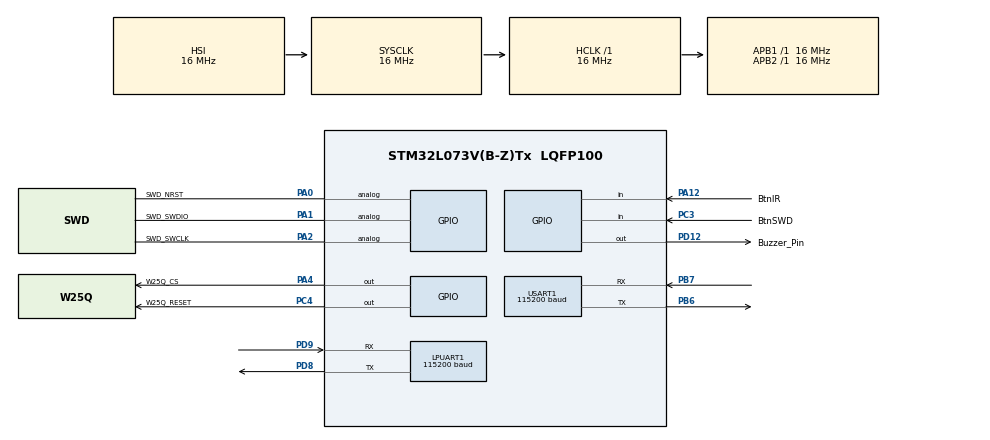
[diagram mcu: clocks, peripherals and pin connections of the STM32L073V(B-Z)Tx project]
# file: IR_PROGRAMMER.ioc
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LPUART1.BaudRate=115200
LPUART1.Parity=UART_PARITY_EVEN
LPUART1.WordLength=UART_WORDLENGTH_9B
Mcu.Family=STM32L0
Mcu.Name=STM32L073V(B-Z)Tx
Mcu.Package=LQFP100
PA0.GPIO_Label=SWD_NRST
PA0.Signal=GPIO_Analog
PA1.GPIO_Label=SWD_SWDIO
PA1.Signal=GPIO_Analog
PA12.GPIO_Label=BtnIR
PA12.Signal=GPIO_Input
PA13.Mode=Serial_Wire
PA13.Signal=SYS_SWDIO
PA14.Mode=Serial_Wire
PA14.Signal=SYS_SWCLK
PA2.GPIO_Label=SWD_SWCLK
PA2.Signal=GPIO_Analog
PA4.GPIO_Label=W25Q_CS
PA4.PinState=GPIO_PIN_SET
PA4.Signal=GPIO_Output
PB6.GPIO_Speed=GPIO_SPEED_FREQ_VERY_HIGH
PB6.Mode=Asynchronous
PB6.Signal=USART1_TX
PB7.GPIO_PuPd=GPIO_PULLUP
PB7.GPIO_Speed=GPIO_SPEED_FREQ_VERY_HIGH
PB7.Mode=Asynchronous
PB7.Signal=USART1_RX
PC3.GPIO_Label=BtnSWD
PC3.Signal=GPIO_Input
PC4.GPIO_Label=W25Q_RESET
PC4.PinState=GPIO_PIN_SET
PC4.Signal=GPIO_Output
PD12.GPIO_Label=Buzzer_Pin
PD12.PinState=GPIO_PIN_RESET
PD12.Signal=GPIO_Output
PD8.GPIO_Speed=GPIO_SPEED_FREQ_VERY_HIGH
PD8.Mode=Asynchronous
PD8.Signal=LPUART1_TX
PD9.GPIO_Speed=GPIO_SPEED_FREQ_VERY_HIGH
PD9.Mode=Asynchronous
PD9.Signal=LPUART1_RX
ProjectManager.HeapSize=0x200
ProjectManager.StackSize=0x400
ProjectManager.TargetToolchain=MDK-ARM V5.32
RCC.AHBFreq_Value=16000000
RCC.APB1Freq_Value=16000000
RCC.APB1TimFreq_Value=16000000
RCC.APB2Freq_Value=16000000
RCC.APB2TimFreq_Value=16000000
RCC.HCLKFreq_Value=16000000
RCC.HSE_VALUE=8000000
RCC.HSI16_VALUE=16000000
RCC.HSI48_VALUE=48000000
RCC.HSI_VALUE=16000000
RCC.LSE_VALUE=32768
RCC.MSI_VALUE=2097000
RCC.PWR_Regulator_Voltage_Scale=PWR_REGULATOR_VOLTAGE_SCALE1
RCC.SYSCLKFreq_VALUE=16000000
RCC.SYSCLKSource=RCC_SYSCLKSOURCE_HSI
RCC.VCOOutputFreq_Value=48000000
USART1.BaudRate=115200
USART1.VirtualMode-Asynchronous=VM_ASYNC
board=custom

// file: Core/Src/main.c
/* USER CODE BEGIN Header */
/**
  ******************************************************************************
  * @file           : main.c
  * @brief          : IR + SWD Programmer - ana program
  *
  *  IR_Programmer_PPM karti (STM32L073VBT) uzerinde calisir. fw_image.h icindeki
  *  firmware'i hedef STM32L0'a iki yoldan biriyle yazar:
  *
  *    - IR  : SW3 / BUTTON_2 (PA12) -> hedefin sistem bootloader'i (AN3155),
  *            LPUART1 (PD8 = TX, PD9 = RX)
  *    - SWD : SW1 / BUTTON_1 (PC3)  -> bit-bang SWD (SWD/swd.c), J1 konnektoru
  *            (PA2 = SWCLK, PA1 = SWDIO, PA0 = NRST)
  *    - Log    : USART1 (PB6 = TX, PB7 = RX) <- J3, PC'ye 115200 8N1 log
  *    - Buzzer : PD12 (Q3) - kartta LCD yok, geri bildirim bip ile
  ******************************************************************************
  */
/* USER CODE END Header */
#include "main.h"

/* USER CODE BEGIN Includes */
#include "fw_image.h"      /* hedef firmware: fw_data[], fw_size (IR ve SWD ortak) */
#include "swd.h"
#include "sys_conf.h"
#include <stdarg.h>
#include <stdio.h>
#include <string.h>
/* USER CODE END Includes */

/* USER CODE BEGIN PD */
/* --- STM32 sistem bootloader (AN3155) sabitleri --- */
#define BL_INIT             0x7FU
#define BL_ACK              0x79U
#define BL_NACK             0x1FU
#define TARGET_FLASH_BASE   0x08000000U   /* hedef firmware'in yazilacagi adres */
#define BL_CHUNK            256U          /* Write Memory blok boyutu (maks 256) */
/* IR baud. Bootloader ilk 0x7F'te buna kilitlenir; degistirirsen hedefi
   power-cycle et. Link kararsizsa 57600 / 38400 dene (CubeProgrammer 115200). */
#define IR_BAUDRATE         115200U
#define TARGET_PAGE_SIZE    128U          /* STM32L0 flash sayfa boyutu */
#define LOG_BAUDRATE        115200U

/* IR akisinda hedefin BOOT0 hatti yok: hedef elle power-cycle ile
 * bootloader'a alinir, programlama sonunda 'Go' komutuyla uygulamaya atlanir.
 * SWD akisi ise hedefi J1'deki NRST ile kendisi resetler ve durdurur.          */

/* SWD bit-bang yarim periyot gecikmesi (0 = en hizli). Uzun/parazitli kabloda
   ERR_PARITY / ERR_ACK / ERR_VERIFY gorulurse 2..6'ya cikar. */
#define SWD_CLK_DELAY       0U

/* Hata kodlari (Ui_Error bu sayida kisa bip calar)
 *   IR : -1 baglanti, -2 Get ID, -3 erase, -4 yazma
 *   SWD: -5 attach (IDCODE/halt), -6 flash unlock, -7 erase/yazma, -8 verify */
#define ERR_SWD_ATTACH      (-5)
#define ERR_SWD_UNLOCK      (-6)
#define ERR_SWD_PROGRAM     (-7)
#define ERR_SWD_VERIFY      (-8)
/* USER CODE END PD */

UART_HandleTypeDef hlpuart1;
UART_HandleTypeDef huart1;

/* USER CODE BEGIN PV */
volatile int g_prog_result = -100;   /* 0 = basari; debug'ta izlemek icin */
/* USER CODE END PV */

void SystemClock_Config(void);
static void MX_GPIO_Init(void);
static void MX_USART1_UART_Init(void);
static void MX_LPUART1_UART_Init(void);
/* USER CODE BEGIN PFP */
static void     Log(const char *fmt, ...);
static void     Ui_Begin(void);
static void     Ui_Ready(void);
static void     Ui_Success(void);
static void     Ui_Error(int code);
static int      Button_PressEdge(GPIO_TypeDef *port, uint16_t pin, int *prev);
static int      bl_set_baud(uint32_t baud);
static int      bl_connect(void);
static int      bl_get_id(uint16_t *pid);
static int      bl_erase_range(uint16_t first_page, uint16_t count);
static int      bl_write(uint32_t addr, const uint8_t *data, uint16_t len);
static int      bl_go(uint32_t addr);
int             Program_Target(void);
int             Program_Target_SWD(void);
/* USER CODE END PFP */

/* USER CODE BEGIN 0 */

/* ============================================================
 *  Buzzer (PD12 -> Q3) - aktif buzzer, ms suresince oter
 * ============================================================ */
void Buzzer(uint16_t ms)
{
  HAL_GPIO_WritePin(Buzzer_Pin_GPIO_Port, Buzzer_Pin_Pin, GPIO_PIN_SET);
  HAL_Delay(ms);
  HAL_GPIO_WritePin(Buzzer_Pin_GPIO_Port, Buzzer_Pin_Pin, GPIO_PIN_RESET);
}

/* ============================================================
 *  Mesgul bipi - programlama surerken arka planda periyodik kisa bip.
 *  SysTick kesmesinden (1 ms) Buzzer_Tick() ile surulur; ana akisi
 *  (IR UART / SWD bit-bang) hic bekletmez.
 * ============================================================ */
#define BUSY_BEEP_PERIOD_MS   1000U   /* bip araligi */
#define BUSY_BEEP_ON_MS       40U     /* bip suresi  */

static volatile uint8_t  s_busy_beep = 0;
static volatile uint16_t s_busy_ms   = 0;

static void BusyBeep_Start(void)
{
  s_busy_ms   = 0;
  s_busy_beep = 1;
}

static void BusyBeep_Stop(void)
{
  s_busy_beep = 0;
  HAL_GPIO_WritePin(Buzzer_Pin_GPIO_Port, Buzzer_Pin_Pin, GPIO_PIN_RESET);
}

/* SysTick_Handler'dan her 1 ms'de cagrilir */
void Buzzer_Tick(void)
{
  if (!s_busy_beep) return;
  uint16_t t = s_busy_ms;
  if (t == 0U)
    HAL_GPIO_WritePin(Buzzer_Pin_GPIO_Port, Buzzer_Pin_Pin, GPIO_PIN_SET);
  else if (t == BUSY_BEEP_ON_MS)
    HAL_GPIO_WritePin(Buzzer_Pin_GPIO_Port, Buzzer_Pin_Pin, GPIO_PIN_RESET);
  s_busy_ms = (uint16_t)((t + 1U >= BUSY_BEEP_PERIOD_MS) ? 0U : (t + 1U));
}

/* ============================================================
 *  Geri bildirim yardimcilari (kartta ekran yok -> sadece buzzer)
 * ============================================================ */
static void Ui_Begin(void)            /* programlama basliyor: tek kisa bip */
{
  Buzzer(60);
}

static void Ui_Ready(void)            /* hazir: menu tusuna basilmasini bekliyor */
{
  Buzzer(60);
}

static void Ui_Success(void)          /* basarili: iki kisa bip */
{
  Buzzer(80); HAL_Delay(120); Buzzer(80);
}

static void Ui_Error(int code)        /* hata: uzun bip + |code| adet kisa bip */
{
  int c = (code < 0) ? -code : code;
  Buzzer(600);
  HAL_Delay(400);
  for (int i = 0; i < c && i < 9; i++) {
    Buzzer(100); HAL_Delay(200);
  }
}

/* ============================================================
 *  Butonlar (aktif HIGH) - basma kenari yakalama (debounce'lu)
 * ============================================================ */
/* serbest->basili gecisini dondurur. Programlama sirasinda CAGRILMADIGI icin
   o sirada basilan tuslar dogal olarak yok sayilir; programlama bittikten sonra
   ancak YENI bir basma (birak + tekrar bas) yeni cevrimi tetikler.
   *prev boot'ta 1 verilir -> acilista basili tus yanlislikla tetiklemez. */
static int Button_PressEdge(GPIO_TypeDef *port, uint16_t pin, int *prev)
{
  int now = (HAL_GPIO_ReadPin(port, pin) == GPIO_PIN_SET);
  int edge = (now && !*prev);
  *prev = now;
  if (edge) HAL_Delay(30);    /* debounce */
  return edge;
}

/* printf tarzi log (USART1 / J3): Log("deger=%d\r\n", x); */
static void Log(const char *fmt, ...)
{
  char buf[128];
  va_list ap;
  va_start(ap, fmt);
  int n = vsnprintf(buf, sizeof(buf), fmt, ap);
  va_end(ap);
  if (n < 0) return;
  if (n > (int)sizeof(buf)) n = (int)sizeof(buf);   /* tasma korumasi */
  HAL_UART_Transmit(&huart1, (uint8_t *)buf, (uint16_t)n, 1000);
}

/* ============================================================
 *  Dusuk seviye IR/UART yardimcilari (LPUART1)
 * ============================================================ */
static int bl_recv(uint8_t *d, uint16_t n, uint32_t to)
{
  return (HAL_UART_Receive(&hlpuart1, d, n, to) == HAL_OK) ? 0 : -1;
}
static void bl_send(const uint8_t *d, uint16_t n)
{
  HAL_UART_Transmit(&hlpuart1, (uint8_t *)d, n, 2000);
}
static int bl_wait_ack(uint32_t to)
{
  uint8_t b;
  if (bl_recv(&b, 1, to)) return -1;        /* timeout       */
  return (b == BL_ACK) ? 0 : -2;            /* NACK / hatali */
}
/* RX'te bekleyen artik/echo baytlarini ve hata bayraklarini temizle */
static void bl_flush(void)
{
  uint8_t junk;
  while (HAL_UART_Receive(&hlpuart1, &junk, 1, 5) == HAL_OK) { /* bosalt */ }
  __HAL_UART_CLEAR_OREFLAG(&hlpuart1);
  __HAL_UART_CLEAR_PEFLAG(&hlpuart1);
  __HAL_UART_CLEAR_FEFLAG(&hlpuart1);
  __HAL_UART_CLEAR_NEFLAG(&hlpuart1);
}

/* Komut baytini ve tumleyenini gonderir, ACK bekler */
static int bl_cmd(uint8_t cmd)
{
  uint8_t b[2] = { cmd, (uint8_t)(~cmd) };
  bl_flush();
  bl_send(b, 2);
  return bl_wait_ack(1000);
}

/* LPUART1 baud'unu yeniden ayarla */
static int bl_set_baud(uint32_t baud)
{
  hlpuart1.Init.BaudRate = baud;
  return (HAL_UART_Init(&hlpuart1) == HAL_OK) ? 0 : -1;
}

/* Tek bir 0x7F denemesi. 0 = ACK/NACK geldi (baglandi). */
static int bl_connect_once(void)
{
  uint8_t init = BL_INIT, b;
  HAL_StatusTypeDef s;

  __HAL_UART_CLEAR_OREFLAG(&hlpuart1);
  __HAL_UART_CLEAR_PEFLAG(&hlpuart1);
  __HAL_UART_CLEAR_FEFLAG(&hlpuart1);
  __HAL_UART_CLEAR_NEFLAG(&hlpuart1);

  bl_send(&init, 1);
  s = HAL_UART_Receive(&hlpuart1, &b, 1, 500);

  if (s == HAL_OK) {
    const char *tag = (b == BL_ACK)  ? " (ACK)"
                    : (b == BL_NACK) ? " (NACK - zaten init)"
                    : (b == BL_INIT) ? " (!! kendi echo'muz)"
                    : "";
    Log("        -> 0x%02X%s\r\n", b, tag);
    if (b == BL_ACK || b == BL_NACK) return 0;
  } else if (s == HAL_TIMEOUT) {
    Log("        -> cevap yok\r\n");
  } else {
    Log("        -> UART hata 0x%lX\r\n", (unsigned long)hlpuart1.ErrorCode);
  }
  return -1;
}

/* 0x7F autobaud. Hedef TAZE boot modunda olmali (elle power-cycle);
 * ilk 0x7F bootloader'i IR_BAUDRATE'e kilitler. */
static int bl_connect(void)
{
  bl_set_baud(IR_BAUDRATE);
  Log("    baud %lu...\r\n", (unsigned long)IR_BAUDRATE);
  for (int i = 0; i < 5; i++) {
    if (bl_connect_once() == 0) {
      Log("    >>> BAGLANDI @ %lu baud\r\n", (unsigned long)IR_BAUDRATE);
      return 0;
    }
    HAL_Delay(50);
  }
  return -1;
}

/* 0x02: Get ID -> hedef PID (urun kimligi). Marjinal link icin tekrarli. */
static int bl_get_id(uint16_t *pid)
{
  for (int attempt = 0; attempt < 5; attempt++) {
    uint8_t n, id[4];
    if (bl_cmd(0x02))                  { Log("    GetID d%d: cmd ACK yok\r\n", attempt + 1); continue; }
    if (bl_recv(&n, 1, 1000))          { Log("    GetID d%d: n yok\r\n",      attempt + 1); continue; }
    if ((int)n + 1 > (int)sizeof(id))  { Log("    GetID d%d: n=%u tuhaf\r\n",  attempt + 1, n); continue; }
    if (bl_recv(id, n + 1, 1000))      { Log("    GetID d%d: id yok\r\n",     attempt + 1); continue; }
    if (bl_wait_ack(1000))             { Log("    GetID d%d: son ACK yok\r\n", attempt + 1); continue; }
    *pid = (uint16_t)((id[0] << 8) | id[1]);
    return 0;
  }
  return -1;
}

/* 0x44: Extended Erase -> SAYFA erase. first_page'den baslayarak count sayfa siler.
 * CubeProgrammer'in yaptigi yontem (global 0xFFFF mass erase yerine). Tekrarli. */
static int bl_erase_range(uint16_t first_page, uint16_t count)
{
  if (count == 0) return 0;
  for (int attempt = 0; attempt < 4; attempt++) {
    uint8_t hdr[2], pb[2], cs, b;
    uint16_t nm1 = (uint16_t)(count - 1);  /* sayfa sayisi - 1 (MSB first) */

    if (bl_cmd(0x44)) { Log("    Erase[%u] d%d: cmd ACK yok\r\n", first_page, attempt + 1); continue; }

    hdr[0] = (uint8_t)(nm1 >> 8);
    hdr[1] = (uint8_t)(nm1 & 0xFF);
    cs = (uint8_t)(hdr[0] ^ hdr[1]);
    bl_send(hdr, 2);
    for (uint16_t i = 0; i < count; i++) {
      uint16_t pg = (uint16_t)(first_page + i);
      pb[0] = (uint8_t)(pg >> 8);
      pb[1] = (uint8_t)(pg & 0xFF);
      cs ^= (uint8_t)(pb[0] ^ pb[1]);
      bl_send(pb, 2);
    }
    bl_send(&cs, 1);

    if (bl_recv(&b, 1, 30000)) { Log("    Erase[%u] d%d: cevap yok\r\n", first_page, attempt + 1); continue; }
    if (b == BL_ACK) return 0;
    Log("    Erase[%u] d%d: cevap 0x%02X\r\n", first_page, attempt + 1, b);
  }
  return -1;
}

/* 0x31: Write Memory -> addr adresine len (1..256) bayt yazar. Tekrarli. */
static int bl_write(uint32_t addr, const uint8_t *data, uint16_t len)
{
  if (len == 0 || len > 256) return -10;

  for (int attempt = 0; attempt < 4; attempt++) {
    uint8_t a[5];
    uint8_t n, cs;

    if (bl_cmd(0x31)) continue;                 /* komut ACK */
    a[0] = (uint8_t)(addr >> 24);
    a[1] = (uint8_t)(addr >> 16);
    a[2] = (uint8_t)(addr >> 8);
    a[3] = (uint8_t)(addr);
    a[4] = a[0] ^ a[1] ^ a[2] ^ a[3];
    bl_send(a, 5);
    if (bl_wait_ack(1000)) continue;            /* adres ACK */

    n  = (uint8_t)(len - 1);
    cs = n;
    for (uint16_t i = 0; i < len; i++) cs ^= data[i];
    bl_send(&n, 1);
    bl_send(data, len);
    bl_send(&cs, 1);
    if (bl_wait_ack(5000) == 0) return 0;       /* veri ACK */

    Log("    Write @0x%08lX d%d: ACK yok\r\n", (unsigned long)addr, attempt + 1);
  }
  return -1;
}

/* 0x21: Go -> verilen adresten uygulamayi baslatir */
static int bl_go(uint32_t addr)
{
  uint8_t a[5];
  if (bl_cmd(0x21)) return -1;
  a[0] = (uint8_t)(addr >> 24);
  a[1] = (uint8_t)(addr >> 16);
  a[2] = (uint8_t)(addr >> 8);
  a[3] = (uint8_t)(addr);
  a[4] = a[0] ^ a[1] ^ a[2] ^ a[3];
  bl_send(a, 5);
  return bl_wait_ack(1000);
}

/* ============================================================
 *  Ust seviye akis: hedefi programla
 *  Donus: 0 basari, negatif deger hata adimi
 * ============================================================ */
int Program_Target(void)
{
  uint16_t pid = 0;

  Log("[1-2] Bootloader baglantisi...\r\n");
  if (bl_connect())    { Log("    HATA: hicbir baud'da ACK yok\r\n"); return -1; }

  Log("[3] Get ID...\r\n");
  if (bl_get_id(&pid)) { Log("    HATA: ID okunamadi\r\n"); return -2; }
  Log("    Hedef PID = 0x%04X\r\n", pid);

  /* CubeProgrammer gibi SAYFA erase (global 0xFFFF mass erase bu bootloader'da
     NACK aliyor). Marjinal IR icin 32'lik gruplar halinde, her grup tekrarli. */
  {
    uint16_t total_pages = (uint16_t)((fw_size + TARGET_PAGE_SIZE - 1) / TARGET_PAGE_SIZE);
    const uint16_t BATCH = 32;
    Log("[4] Sayfa erase: %u sayfa...\r\n", total_pages);
    for (uint16_t p = 0; p < total_pages; p += BATCH) {
      uint16_t cnt = (uint16_t)((total_pages - p > BATCH) ? BATCH : (total_pages - p));
      if (bl_erase_range(p, cnt)) { Log("    HATA: erase @ sayfa %u\r\n", p); return -3; }
      Log("    silindi: %u/%u\r\n", (unsigned)(p + cnt), total_pages);
    }
  }
  Log("    Erase OK\r\n");

  Log("[5] Yaziliyor: %lu bayt @ 0x%08lX\r\n",
      (unsigned long)fw_size, (unsigned long)TARGET_FLASH_BASE);
  for (uint32_t off = 0, idx = 0; off < fw_size; off += BL_CHUNK, idx++) {
    uint16_t chunk = (fw_size - off > BL_CHUNK) ? BL_CHUNK
                                                : (uint16_t)(fw_size - off);
    if (bl_write(TARGET_FLASH_BASE + off, &fw_data[off], chunk)) {
      Log("    HATA: yazma basarisiz @ ofset %lu\r\n", (unsigned long)off);
      return -4;
    }
    if ((idx % 16) == 0) {  /* her ~4KB'de bir ilerleme logu */
      uint8_t pct = (uint8_t)(((uint64_t)(off + chunk) * 100U) / fw_size);
      Log("    %lu / %lu bayt (%%%u)\r\n",
          (unsigned long)(off + chunk), (unsigned long)fw_size, pct);
    }
  }
  Log("    Yazma tamam (%lu bayt)\r\n", (unsigned long)fw_size);

  /* Reset hatti yok -> CubeProgrammer gibi Go komutuyla uygulamaya atla */
  Log("[6] Go: uygulamaya atlaniyor @ 0x%08lX\r\n", (unsigned long)TARGET_FLASH_BASE);
  if (bl_go(TARGET_FLASH_BASE)) Log("    Uyari: Go ACK yok\r\n");

  return 0;
}

/* ============================================================
 *  SWD ile programlama (SWD/swd.c surucusu, J1 konnektoru)
 * ============================================================ */
static const char *swd_status_str(swd_status_t s)
{
  switch (s)
  {
    case SWD_OK:         return "OK";
    case SWD_ERR_ACK:    return "ERR_ACK (baglanti yok / WAIT / FAULT)";
    case SWD_ERR_PARITY: return "ERR_PARITY";
    case SWD_ERR_IDCODE: return "ERR_IDCODE (farkli cip?)";
    case SWD_ERR_FLASH:  return "ERR_FLASH (unlock/erase/program)";
    case SWD_ERR_VERIFY: return "ERR_VERIFY (geri-okuma uyusmadi)";
    default:             return "ERR_?";
  }
}

/* swd_flash_program_ex ilerleme bildirimi: %10 adimlarla log */
static void swd_progress(uint32_t done, uint32_t total)
{
  static uint32_t last = 0xFFFFFFFFu;
  uint32_t pct = total ? (done * 100u / total) : 100u;
  if (done == 0u) last = 0xFFFFFFFFu;   /* ilk cagri = erase bitti, yazma basliyor */
  if (pct / 10u != last)
  {
    last = pct / 10u;
    Log("    %lu / %lu bayt (%%%lu)\r\n",
        (unsigned long)done, (unsigned long)total, (unsigned long)pct);
  }
}

/* Donus: 0 basari, negatif ERR_SWD_* */
int Program_Target_SWD(void)
{
  uint32_t idcode = 0, t0;
  swd_status_t st;

  /* Pinleri her cevrimde yeniden kur (onceki cevrim sonunda hi-Z birakildi) */
  swd_set_delay(SWD_CLK_DELAY);
  swd_gpio_init();

  Log("[1] SWD: hedef reset + attach...\r\n");
  swd_target_reset();
  st = swd_attach(&idcode);
  Log("    IDCODE = 0x%08lX (beklenen 0x%08lX) -> %s\r\n",
      (unsigned long)idcode, (unsigned long)SWD_EXPECTED_IDCODE, swd_status_str(st));
  if (st != SWD_OK) { swd_run_target(); return ERR_SWD_ATTACH; }

  Log("[2] Flash unlock...\r\n");
  if (swd_flash_unlock() != SWD_OK)
  {
    Log("    HATA: unlock\r\n");
    swd_run_target();
    return ERR_SWD_UNLOCK;
  }

  Log("[3] Erase + yazma: %lu bayt @ 0x%08lX\r\n",
      (unsigned long)fw_size, (unsigned long)TARGET_FLASH_BASE);
  t0 = HAL_GetTick();
  st = swd_flash_program_ex(TARGET_FLASH_BASE, fw_data, fw_size, swd_progress);
  if (st != SWD_OK)
  {
    Log("    HATA: %s\r\n", swd_status_str(st));
    swd_flash_lock();
    swd_run_target();
    return ERR_SWD_PROGRAM;
  }
  Log("    Yazma tamam (%lu ms)\r\n", (unsigned long)(HAL_GetTick() - t0));

  Log("[4] Dogrulama...\r\n");
  t0 = HAL_GetTick();
  st = swd_flash_verify(TARGET_FLASH_BASE, fw_data, fw_size);
  swd_flash_lock();
  if (st != SWD_OK)
  {
    Log("    HATA: %s\r\n", swd_status_str(st));
    swd_run_target();
    return ERR_SWD_VERIFY;
  }
  Log("    Verify OK (%lu ms)\r\n", (unsigned long)(HAL_GetTick() - t0));

  Log("[5] Hedef reset'leniyor, uygulama calisiyor\r\n");
  swd_run_target();   /* NRST darbesi + SWCLK/SWDIO hi-Z */
  return 0;
}
/* USER CODE END 0 */

int main(void)
{

  /* MCU Configuration--------------------------------------------------------*/

  /* Reset of all peripherals, Initializes the Flash interface and the Systick. */
  HAL_Init();

  /* Configure the system clock */
  SystemClock_Config();

  /* Initialize all configured peripherals */
  MX_GPIO_Init();
  MX_USART1_UART_Init();
  MX_LPUART1_UART_Init();
  /* USER CODE BEGIN 2 */
  Log("\r\n========================================\r\n");
  Log(" STM32L073 IR + SWD Programmer (IR_Programmer_PPM kart)\r\n");
  Log(" Yazilim: v%d   Derleme: %s %s\r\n", SOFTWARE_VERSION, __DATE__, __TIME__);
  Log(" Imaj: %lu bayt\r\n", (unsigned long)fw_size);
  Log("========================================\r\n");
  Log(" Hazir. SW1 = SWD guncelleme, SW3 = IR guncelleme.\r\n");

  Ui_Ready();   /* baslangic bipi - menu tusu bekleniyor */
  /* USER CODE END 2 */

  /* Infinite loop */
  while (1)
  {

    /* USER CODE BEGIN 3 */
    /* SW1 -> SWD, SW3 -> IR guncellemesi.
       - Programlama sirasinda tuslar yoklanmaz -> o sirada basislar yok sayilir.
       - Sonuc bip ile bildirilir; YENI bir basis (birak+bas) yeni cevrim
         baslatir -> hatadan sonra tekrar atar, basaridan sonra sonraki
         hedefe atar. */
    static int prev_ir = 1, prev_swd = 1;
    int start_ir  = Button_PressEdge(BtnIR_GPIO_Port,  BtnIR_Pin,  &prev_ir);
    int start_swd = Button_PressEdge(BtnSWD_GPIO_Port, BtnSWD_Pin, &prev_swd);

    if (start_ir || start_swd)
    {
      const char *mode = start_ir ? "IR" : "SWD";
      Ui_Begin();                       /* tek kisa bip */
      Log("\r\n--- %s: programlama baslatildi ---\r\n", mode);

      HAL_Delay(300);                   /* baslangic bipi ile mesgul bipi karismasin */
      BusyBeep_Start();                 /* programlama boyunca ~1 sn'de bir kisa bip */
      g_prog_result = start_ir ? Program_Target() : Program_Target_SWD();
      BusyBeep_Stop();
      HAL_Delay(300);                   /* sonuc biplerinden once kisa sessizlik */

      if (g_prog_result == 0)
      {
        Ui_Success();
        Log("Sonuc (%s): 0 (BASARILI)\r\n", mode);
      }
      else
      {
        Ui_Error(g_prog_result);
        Log("Sonuc (%s): %d (HATA) - tekrar denemek icin tusa bas\r\n", mode, g_prog_result);
      }

      /* Programlama sirasinda basilip birakilan tus sonradan tetiklemesin */
      prev_ir = prev_swd = 1;
    }
    HAL_Delay(20);
  }
  /* USER CODE END 3 */
}

void SystemClock_Config(void)
{
  RCC_OscInitTypeDef RCC_OscInitStruct = {0};
  RCC_ClkInitTypeDef RCC_ClkInitStruct = {0};
  RCC_PeriphCLKInitTypeDef PeriphClkInit = {0};

  /** Configure the main internal regulator output voltage
  */
  __HAL_PWR_VOLTAGESCALING_CONFIG(PWR_REGULATOR_VOLTAGE_SCALE1);

  /** Initializes the RCC Oscillators according to the specified parameters
  * in the RCC_OscInitTypeDef structure.
  */
  RCC_OscInitStruct.OscillatorType = RCC_OSCILLATORTYPE_HSI;
  RCC_OscInitStruct.HSIState = RCC_HSI_ON;
  RCC_OscInitStruct.HSICalibrationValue = RCC_HSICALIBRATION_DEFAULT;
  RCC_OscInitStruct.PLL.PLLState = RCC_PLL_NONE;
  if (HAL_RCC_OscConfig(&RCC_OscInitStruct) != HAL_OK)
  {
    Error_Handler();
  }

  /** Initializes the CPU, AHB and APB buses clocks
  */
  RCC_ClkInitStruct.ClockType = RCC_CLOCKTYPE_HCLK|RCC_CLOCKTYPE_SYSCLK
                              |RCC_CLOCKTYPE_PCLK1|RCC_CLOCKTYPE_PCLK2;
  RCC_ClkInitStruct.SYSCLKSource = RCC_SYSCLKSOURCE_HSI;
  RCC_ClkInitStruct.AHBCLKDivider = RCC_SYSCLK_DIV1;
  RCC_ClkInitStruct.APB1CLKDivider = RCC_HCLK_DIV1;
  RCC_ClkInitStruct.APB2CLKDivider = RCC_HCLK_DIV1;

  if (HAL_RCC_ClockConfig(&RCC_ClkInitStruct, FLASH_LATENCY_0) != HAL_OK)
  {
    Error_Handler();
  }
  PeriphClkInit.PeriphClockSelection = RCC_PERIPHCLK_USART1|RCC_PERIPHCLK_LPUART1;
  PeriphClkInit.Usart1ClockSelection = RCC_USART1CLKSOURCE_PCLK2;
  PeriphClkInit.Lpuart1ClockSelection = RCC_LPUART1CLKSOURCE_PCLK1;
  if (HAL_RCCEx_PeriphCLKConfig(&PeriphClkInit) != HAL_OK)
  {
    Error_Handler();
  }
}

static void MX_LPUART1_UART_Init(void)
{

  hlpuart1.Instance = LPUART1;
  hlpuart1.Init.BaudRate = 115200;
  hlpuart1.Init.WordLength = UART_WORDLENGTH_9B;
  hlpuart1.Init.StopBits = UART_STOPBITS_1;
  hlpuart1.Init.Parity = UART_PARITY_EVEN;
  hlpuart1.Init.Mode = UART_MODE_TX_RX;
  hlpuart1.Init.HwFlowCtl = UART_HWCONTROL_NONE;
  hlpuart1.Init.OneBitSampling = UART_ONE_BIT_SAMPLE_DISABLE;
  hlpuart1.AdvancedInit.AdvFeatureInit = UART_ADVFEATURE_NO_INIT;
  if (HAL_UART_Init(&hlpuart1) != HAL_OK)
  {
    Error_Handler();
  }

}

static void MX_USART1_UART_Init(void)
{

  huart1.Instance = USART1;
  huart1.Init.BaudRate = 115200;
  huart1.Init.WordLength = UART_WORDLENGTH_8B;
  huart1.Init.StopBits = UART_STOPBITS_1;
  huart1.Init.Parity = UART_PARITY_NONE;
  huart1.Init.Mode = UART_MODE_TX_RX;
  huart1.Init.HwFlowCtl = UART_HWCONTROL_NONE;
  huart1.Init.OverSampling = UART_OVERSAMPLING_16;
  huart1.Init.OneBitSampling = UART_ONE_BIT_SAMPLE_DISABLE;
  huart1.AdvancedInit.AdvFeatureInit = UART_ADVFEATURE_NO_INIT;
  if (HAL_UART_Init(&huart1) != HAL_OK)
  {
    Error_Handler();
  }

}

static void MX_GPIO_Init(void)
{
  GPIO_InitTypeDef GPIO_InitStruct = {0};

  /* GPIO Ports Clock Enable */
  __HAL_RCC_GPIOC_CLK_ENABLE();
  __HAL_RCC_GPIOA_CLK_ENABLE();
  __HAL_RCC_GPIOD_CLK_ENABLE();
  __HAL_RCC_GPIOB_CLK_ENABLE();

  /*Configure GPIO pin Output Level */
  HAL_GPIO_WritePin(W25Q_CS_GPIO_Port, W25Q_CS_Pin, GPIO_PIN_SET);

  /*Configure GPIO pin Output Level */
  HAL_GPIO_WritePin(W25Q_RESET_GPIO_Port, W25Q_RESET_Pin, GPIO_PIN_SET);

  /*Configure GPIO pin Output Level */
  HAL_GPIO_WritePin(Buzzer_Pin_GPIO_Port, Buzzer_Pin_Pin, GPIO_PIN_RESET);

  /*Configure GPIO pin : BtnSWD_Pin */
  GPIO_InitStruct.Pin = BtnSWD_Pin;
  GPIO_InitStruct.Mode = GPIO_MODE_INPUT;
  GPIO_InitStruct.Pull = GPIO_NOPULL;
  HAL_GPIO_Init(BtnSWD_GPIO_Port, &GPIO_InitStruct);

  /*Configure GPIO pins : SWD_NRST_Pin SWD_SWDIO_Pin SWD_SWCLK_Pin */
  GPIO_InitStruct.Pin = SWD_NRST_Pin|SWD_SWDIO_Pin|SWD_SWCLK_Pin;
  GPIO_InitStruct.Mode = GPIO_MODE_ANALOG;
  GPIO_InitStruct.Pull = GPIO_NOPULL;
  HAL_GPIO_Init(GPIOA, &GPIO_InitStruct);

  /*Configure GPIO pin : W25Q_CS_Pin */
  GPIO_InitStruct.Pin = W25Q_CS_Pin;
  GPIO_InitStruct.Mode = GPIO_MODE_OUTPUT_PP;
  GPIO_InitStruct.Pull = GPIO_NOPULL;
  GPIO_InitStruct.Speed = GPIO_SPEED_FREQ_LOW;
  HAL_GPIO_Init(W25Q_CS_GPIO_Port, &GPIO_InitStruct);

  /*Configure GPIO pin : W25Q_RESET_Pin */
  GPIO_InitStruct.Pin = W25Q_RESET_Pin;
  GPIO_InitStruct.Mode = GPIO_MODE_OUTPUT_PP;
  GPIO_InitStruct.Pull = GPIO_NOPULL;
  GPIO_InitStruct.Speed = GPIO_SPEED_FREQ_LOW;
  HAL_GPIO_Init(W25Q_RESET_GPIO_Port, &GPIO_InitStruct);

  /*Configure GPIO pin : Buzzer_Pin_Pin */
  GPIO_InitStruct.Pin = Buzzer_Pin_Pin;
  GPIO_InitStruct.Mode = GPIO_MODE_OUTPUT_PP;
  GPIO_InitStruct.Pull = GPIO_NOPULL;
  GPIO_InitStruct.Speed = GPIO_SPEED_FREQ_LOW;
  HAL_GPIO_Init(Buzzer_Pin_GPIO_Port, &GPIO_InitStruct);

  /*Configure GPIO pin : BtnIR_Pin */
  GPIO_InitStruct.Pin = BtnIR_Pin;
  GPIO_InitStruct.Mode = GPIO_MODE_INPUT;
  GPIO_InitStruct.Pull = GPIO_NOPULL;
  HAL_GPIO_Init(BtnIR_GPIO_Port, &GPIO_InitStruct);

}

void Error_Handler(void)
{
  __disable_irq();
  while (1)
  {
  }
}
